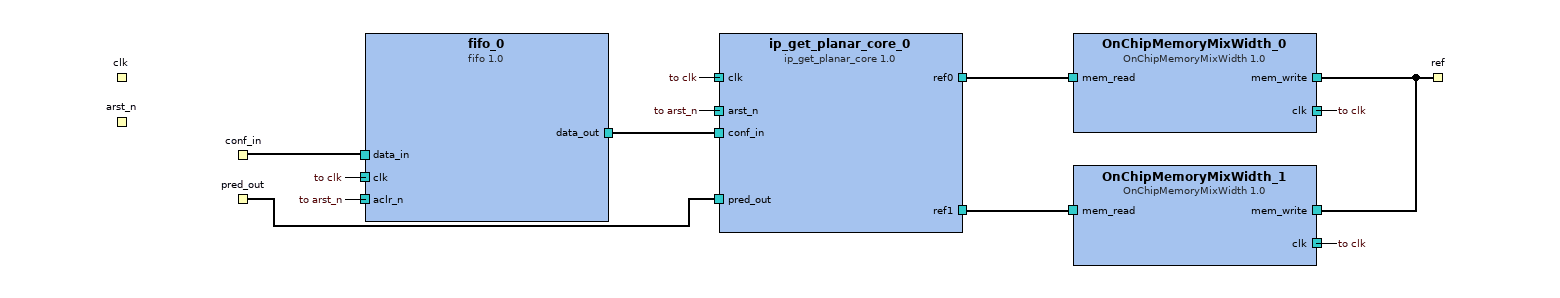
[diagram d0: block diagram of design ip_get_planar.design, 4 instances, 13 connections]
<?xml version="1.0" encoding="UTF-8"?>
<ipxact:design xmlns:xsi="http://www.w3.org/2001/XMLSchema-instance" xmlns:ipxact="http://www.accellera.org/XMLSchema/IPXACT/1685-2014" xmlns:kactus2="http://kactus2.cs.tut.fi" xsi:schemaLocation="http://www.accellera.org/XMLSchema/IPXACT/1685-2014 http://www.accellera.org/XMLSchema/IPXACT/1685-2014/index.xsd"><ipxact:vendor>tuni.fi</ipxact:vendor><ipxact:library>KvazaarPrediction</ipxact:library>
 <ipxact:name>ip_get_planar.design</ipxact:name><ipxact:version>1.0</ipxact:version><ipxact:componentInstances>
 <ipxact:componentInstance><ipxact:instanceName>OnChipMemoryMixWidth_0</ipxact:instanceName>
  <ipxact:componentRef vendor="tuni.fi" library="Kvazaar" name="OnChipMemoryMixWidth" version="1.0">
   <ipxact:configurableElementValues><ipxact:configurableElementValue referenceId="uuid_79662d6e_0f3d_4017_a786_77caf1104d69">32</ipxact:configurableElementValue><ipxact:configurableElementValue referenceId="uuid_12d952d4_a681_4a80_85bb_79e904b52d2f">32</ipxact:configurableElementValue><ipxact:configurableElementValue referenceId="uuid_217b6716_ca20_42b0_9817_9c5067a9a088">6</ipxact:configurableElementValue>
    <ipxact:configurableElementValue referenceId="uuid_0fde7f75_9382_4542_b8ea_a209730690d6">6</ipxact:configurableElementValue>
   </ipxact:configurableElementValues>
  </ipxact:componentRef>
 </ipxact:componentInstance>
 <ipxact:componentInstance><ipxact:instanceName>OnChipMemoryMixWidth_1</ipxact:instanceName>
  <ipxact:componentRef vendor="tuni.fi" library="Kvazaar" name="OnChipMemoryMixWidth" version="1.0">
   <ipxact:configurableElementValues><ipxact:configurableElementValue referenceId="uuid_79662d6e_0f3d_4017_a786_77caf1104d69">32</ipxact:configurableElementValue><ipxact:configurableElementValue referenceId="uuid_12d952d4_a681_4a80_85bb_79e904b52d2f">32</ipxact:configurableElementValue><ipxact:configurableElementValue referenceId="uuid_217b6716_ca20_42b0_9817_9c5067a9a088">6</ipxact:configurableElementValue>
    <ipxact:configurableElementValue referenceId="uuid_0fde7f75_9382_4542_b8ea_a209730690d6">6</ipxact:configurableElementValue>
   </ipxact:configurableElementValues>
  </ipxact:componentRef>
 </ipxact:componentInstance>
 <ipxact:componentInstance><ipxact:instanceName>ip_get_planar_core_0</ipxact:instanceName><ipxact:componentRef vendor="tuni.fi" library="KvazaarPrediction" name="ip_get_planar_core" version="1.0"/></ipxact:componentInstance>
 <ipxact:componentInstance><ipxact:instanceName>fifo_0</ipxact:instanceName>
  <ipxact:componentRef vendor="tuni.fi" library="Kvazaar" name="fifo" version="1.0">
   <ipxact:configurableElementValues><ipxact:configurableElementValue referenceId="uuid_7f07a290_908b_4599_aa0e_65a23a41c781">20</ipxact:configurableElementValue><ipxact:configurableElementValue referenceId="uuid_fd81b965_8582_40f1_a257_0b8a779fcc67">2</ipxact:configurableElementValue><ipxact:configurableElementValue referenceId="uuid_d3b30d51_12a4_49ad_a050_c3e9be454b37">"OFF"</ipxact:configurableElementValue></ipxact:configurableElementValues>
  </ipxact:componentRef>
 </ipxact:componentInstance>
</ipxact:componentInstances><ipxact:interconnections>
 <ipxact:interconnection><ipxact:name>ip_get_planar_core_0_clk_to_bus</ipxact:name><ipxact:activeInterface componentRef="ip_get_planar_core_0" busRef="clk"/><ipxact:hierInterface busRef="clk"/></ipxact:interconnection>
 <ipxact:interconnection><ipxact:name>ip_get_planar_core_0_arst_n_to_bus_1</ipxact:name><ipxact:activeInterface componentRef="ip_get_planar_core_0" busRef="arst_n"/><ipxact:hierInterface busRef="arst_n"/></ipxact:interconnection>
 <ipxact:interconnection><ipxact:name>OnChipMemoryMixWidth_0_clk_to_clk</ipxact:name><ipxact:activeInterface componentRef="OnChipMemoryMixWidth_0" busRef="clk"/><ipxact:hierInterface busRef="clk"/></ipxact:interconnection>
 <ipxact:interconnection><ipxact:name>OnChipMemoryMixWidth_1_clk_to_clk</ipxact:name><ipxact:activeInterface componentRef="OnChipMemoryMixWidth_1" busRef="clk"/><ipxact:hierInterface busRef="clk"/></ipxact:interconnection>
 <ipxact:interconnection><ipxact:name>fifo_0_clk_to_clk</ipxact:name><ipxact:activeInterface componentRef="fifo_0" busRef="clk"/><ipxact:hierInterface busRef="clk"/></ipxact:interconnection>
 <ipxact:interconnection><ipxact:name>fifo_0_aclr_n_to_arst_n</ipxact:name><ipxact:activeInterface componentRef="fifo_0" busRef="aclr_n"/><ipxact:hierInterface busRef="arst_n"/></ipxact:interconnection>
 <ipxact:interconnection><ipxact:name>fifo_0_data_in_to_conf_in</ipxact:name><ipxact:activeInterface componentRef="fifo_0" busRef="data_in"/><ipxact:hierInterface busRef="conf_in"/></ipxact:interconnection>
 <ipxact:interconnection><ipxact:name>fifo_0_data_out_to_ip_get_planar_core_0_conf_in</ipxact:name><ipxact:activeInterface componentRef="fifo_0" busRef="data_out"/><ipxact:activeInterface componentRef="ip_get_planar_core_0" busRef="conf_in"/></ipxact:interconnection>
 <ipxact:interconnection><ipxact:name>ip_get_planar_core_0_ref0_to_OnChipMemoryMixWidth_0_mem_read</ipxact:name><ipxact:activeInterface componentRef="ip_get_planar_core_0" busRef="ref0"/><ipxact:activeInterface componentRef="OnChipMemoryMixWidth_0" busRef="mem_read"/></ipxact:interconnection>
 <ipxact:interconnection><ipxact:name>ip_get_planar_core_0_ref1_to_OnChipMemoryMixWidth_1_mem_read</ipxact:name><ipxact:activeInterface componentRef="ip_get_planar_core_0" busRef="ref1"/><ipxact:activeInterface componentRef="OnChipMemoryMixWidth_1" busRef="mem_read"/></ipxact:interconnection>
 <ipxact:interconnection><ipxact:name>ip_get_planar_core_0_pred_out_to_bus</ipxact:name><ipxact:activeInterface componentRef="ip_get_planar_core_0" busRef="pred_out"/><ipxact:hierInterface busRef="pred_out"/></ipxact:interconnection>
 <ipxact:interconnection><ipxact:name>OnChipMemoryMixWidth_0_mem_write_to_ref</ipxact:name><ipxact:activeInterface componentRef="OnChipMemoryMixWidth_0" busRef="mem_write"/><ipxact:hierInterface busRef="ref"/></ipxact:interconnection>
 <ipxact:interconnection><ipxact:name>OnChipMemoryMixWidth_1_mem_write_to_ref</ipxact:name><ipxact:activeInterface componentRef="OnChipMemoryMixWidth_1" busRef="mem_write"/><ipxact:hierInterface busRef="ref"/></ipxact:interconnection>
</ipxact:interconnections></ipxact:design>

